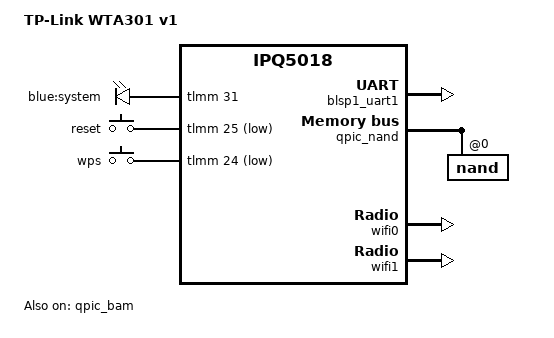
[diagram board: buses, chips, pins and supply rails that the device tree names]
// SPDX-License-Identifier: GPL-2.0-or-later OR MIT

#include "ipq5018.dtsi"

/ {
	model = "TP-Link WTA301 v1";
	compatible = "tplink,wta301-v1", "qcom,ipq5018";

	aliases {
		serial0 = &blsp1_uart1;
		led-boot = &led_system;
		led-failsafe = &led_system;
		led-running = &led_system;
		led-upgrade = &led_system;
	};

	chosen { stdout-path = "serial0:115200n8"; };

	leds {
		compatible = "gpio-leds";
		led_system: system {
			label = "blue:system";
			gpios = <&tlmm 31 GPIO_ACTIVE_HIGH>;
		};
	};

	keys {
		compatible = "gpio-keys";
		reset { label = "reset"; gpios = <&tlmm 25 GPIO_ACTIVE_LOW>; linux,code = <KEY_RESTART>; };
		wps { label = "wps"; gpios = <&tlmm 24 GPIO_ACTIVE_LOW>; linux,code = <KEY_WPS_BUTTON>; };
	};
};

&tlmm {
	mdio_pins: mdio-pins {
		mdc { pins = "gpio36"; function = "mdc"; drive-strength = <8>; bias-pull-up; };
		mdio { pins = "gpio37"; function = "mdio"; drive-strength = <8>; bias-pull-up; };
	};
};

&blsp1_uart1 { status = "okay"; };
&qpic_bam { status = "okay"; };

&qpic_nand {
	status = "okay";
	nand@0 {
		reg = <0>; #address-cells = <1>; #size-cells = <1>;
		nand-ecc-strength = <4>; nand-ecc-step-size = <512>; nand-bus-width = <8>;
		partitions { compatible = "qcom,smem-part"; };
	};
};

&wifi0 { status = "okay"; qcom,ath11k-fw-memory-mode = <1>; qcom,ath11k-calibration-variant = "TP-Link_WTA301-v1"; };

&wifi1 { status = "okay"; qcom,ath11k-fw-memory-mode = <1>; qcom,ath11k-calibration-variant = "TP-Link_WTA301-v1"; };
